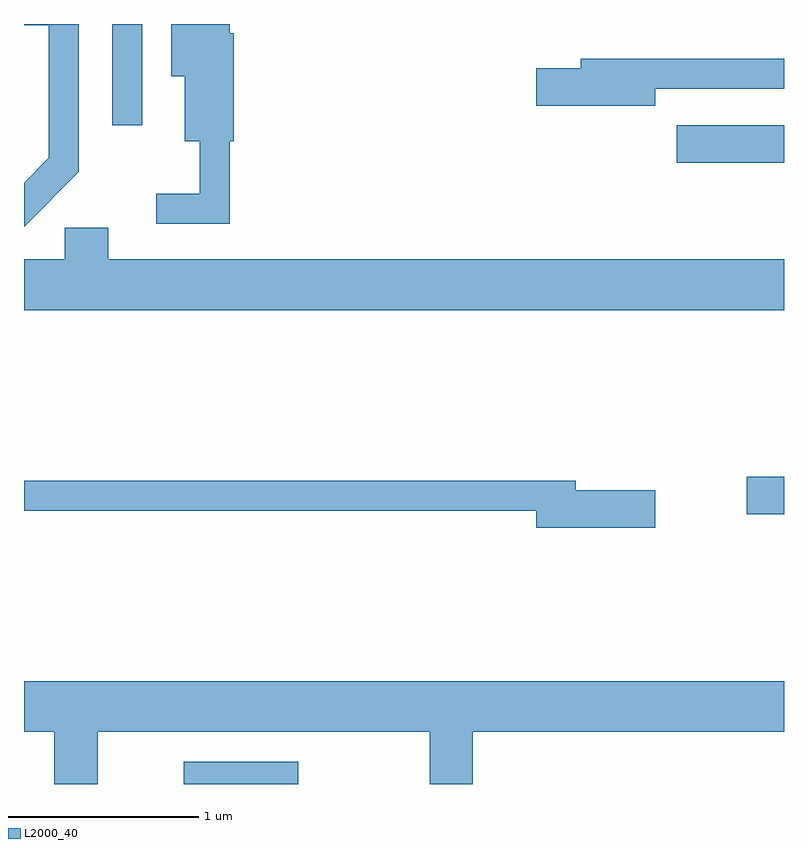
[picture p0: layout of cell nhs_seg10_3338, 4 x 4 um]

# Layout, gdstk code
import gdstk
lib = gdstk.Library(unit=1e-6, precision=1e-09)
def R(c, l, rs):  # rectangles x0, y0, x1, y1
    for r in rs: c.add(gdstk.rectangle(r[:2], r[2:], *l))
def P(c, l, *ps):  # polygons
    for p in ps: c.add(gdstk.Polygon(p, *l))
L2000_40 = (2000, 40)

nhs_seg10_3338 = lib.new_cell('nhs_seg10_3338')
R(nhs_seg10_3338, L2000_40, [(284.451,2122.522,285.054,2122.639), (287.416,2123.941,287.611,2124.139), (287.046,2125.791,287.611,2125.989), (284.076,2125.988,284.234,2126.522)])
P(nhs_seg10_3338, L2000_40, [(283.899,2125.744),(283.899,2126.522),(283.611,2126.522),(283.611,2126.516),(283.741,2126.516),(283.741,2125.817),(283.611,2125.686),(283.611,2125.455)],
  [(284.694,2125.906),(284.714,2125.906),(284.714,2126.474),(284.694,2126.474),(284.694,2126.522),(284.386,2126.522),(284.386,2126.246),(284.456,2126.246),(284.456,2125.906),(284.536,2125.906),(284.536,2125.629),(284.308,2125.629),(284.308,2125.471),(284.694,2125.471)],
  [(286.934,2126.181),(287.611,2126.181),(287.611,2126.339),(286.541,2126.339),(286.541,2126.289),(286.306,2126.289),(286.306,2126.091),(286.934,2126.091)],
  [(287.611,2125.284),(284.054,2125.284),(284.054,2125.449),(283.826,2125.449),(283.826,2125.284),(283.611,2125.284),(283.611,2125.016),(287.611,2125.016)],
  [(286.934,2124.069),(286.514,2124.069),(286.514,2124.119),(283.611,2124.119),(283.611,2123.961),(286.306,2123.961),(286.306,2123.871),(286.934,2123.871)],
  [(283.999,2122.796),(285.746,2122.796),(285.746,2122.522),(285.974,2122.522),(285.974,2122.796),(287.611,2122.796),(287.611,2123.064),(283.611,2123.064),(283.611,2122.796),(283.771,2122.796),(283.771,2122.522),(283.999,2122.522)])

lib.write_gds('nhs_seg10_3338.gds')
